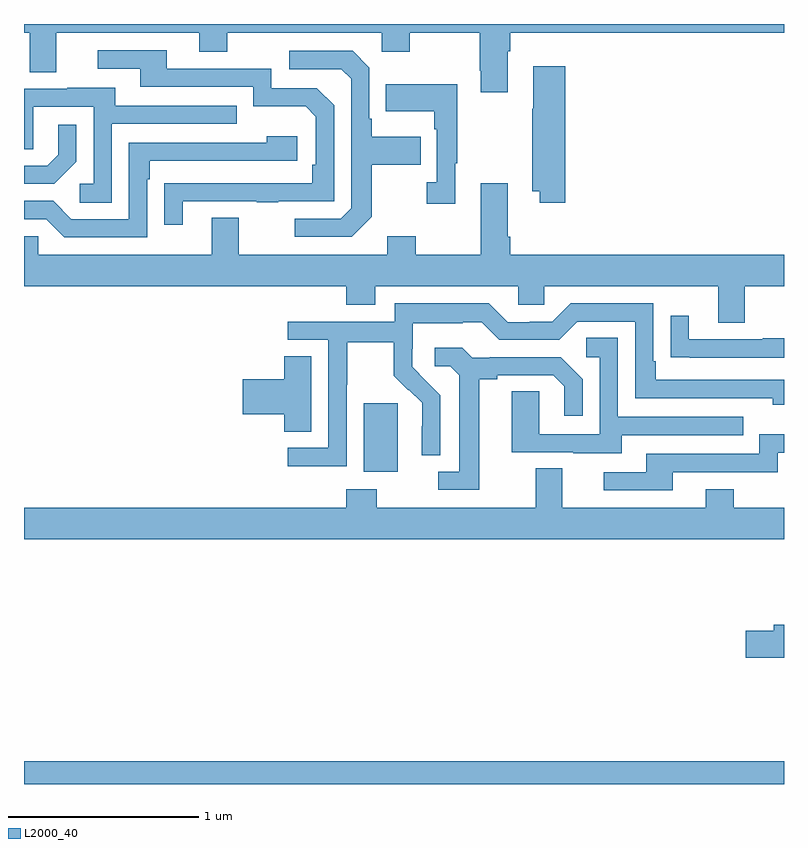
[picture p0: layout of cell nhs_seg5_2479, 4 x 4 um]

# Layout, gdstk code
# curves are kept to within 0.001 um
import gdstk
lib = gdstk.Library(unit=1e-6, precision=1e-09)
def R(c, l, rs):  # rectangles x0, y0, x1, y1
    for r in rs: c.add(gdstk.rectangle(r[:2], r[2:], *l))
def P(c, l, *ps):  # polygons
    for p in ps: c.add(gdstk.Polygon(p, *l))
L2000_40 = (2000, 40)

nhs_seg5_2479 = lib.new_cell('nhs_seg5_2479')
R(nhs_seg5_2479, L2000_40, [(255,860.799,259,860.92), (256.787,862.442,256.966,862.803)])
P(nhs_seg5_2479, L2000_40, [(257.545,864.656),(257.558,864.656),(257.558,864.752),(259,864.752),(259,864.799),(255,864.799),(255,864.752),(255.029,864.752),(255.029,864.544),(255.169,864.544),(255.169,864.752),(255.923,864.752),(255.923,864.653),(256.071,864.653),(256.071,864.752),(256.884,864.752),(256.884,864.653),(257.031,864.653),(257.031,864.752),(257.398,864.752),(257.398,864.553),(257.405,864.553),(257.405,864.441),(257.545,864.441)],
  [(255.835,863.865),(256.225,863.865),(256.225,863.86),(256.337,863.86),(256.337,863.865),(256.632,863.865),(256.632,864.372),(256.542,864.462),(256.302,864.462),(256.302,864.564),(255.751,864.564),(255.751,864.66),(255.387,864.66),(255.387,864.564),(255.611,864.564),(255.611,864.468),(256.206,864.468),(256.206,864.365),(256.483,864.365),(256.536,864.312),(256.536,864.058),(256.516,864.058),(256.516,863.961),(255.739,863.96),(255.739,863.742),(255.835,863.742)],
  [(256.831,863.785),(256.831,864.058),(257.087,864.058),(257.087,864.205),(256.831,864.205),(256.831,864.301),(256.818,864.301),(256.818,864.57),(256.731,864.657),(256.395,864.657),(256.395,864.561),(256.671,864.561),(256.722,864.51),(256.722,863.829),(256.668,863.775),(256.425,863.775),(256.425,863.679),(256.725,863.679)],
  [(257.849,864.577),(257.681,864.577),(257.681,864.353),(257.674,864.353),(257.674,863.918),(257.714,863.918),(257.714,863.859),(257.849,863.859)],
  [(257.269,864.065),(257.281,864.065),(257.281,864.481),(256.903,864.481),(256.903,864.341),(257.16,864.341),(257.16,864.245),(257.172,864.245),(257.172,863.966),(257.121,863.966),(257.121,863.853),(257.269,863.853)],
  [(255.462,864.273),(256.121,864.273),(256.121,864.369),(255.481,864.369),(255.481,864.463),(255.227,864.463),(255.227,864.459),(255,864.459),(255,864.139),(255.048,864.139),(255.048,864.363),(255.366,864.363),(255.366,863.958),(255.294,863.958),(255.294,863.857),(255.462,863.857)],
  [(255.276,864.074),(255.276,864.268),(255.179,864.268),(255.179,864.111),(255.122,864.054),(255,864.054),(255,863.958),(255.16,863.958)],
  [(255.648,863.981),(255.661,863.981),(255.661,864.078),(256.438,864.078),(256.438,864.208),(256.277,864.208),(256.277,864.174),(255.552,864.174),(255.552,863.772),(255.249,863.772),(255.153,863.868),(255,863.868),(255,863.772),(255.117,863.772),(255.213,863.676),(255.648,863.676)],
  [(258.793,863.42),(259,863.42),(259,863.584),(257.558,863.584),(257.558,863.68),(257.545,863.68),(257.545,863.962),(257.405,863.962),(257.405,863.584),(257.061,863.584),(257.061,863.683),(256.913,863.683),(256.913,863.584),(256.129,863.584),(256.129,863.779),(255.989,863.779),(255.989,863.584),(255.075,863.584),(255.075,863.682),(255,863.682),(255,863.42),(256.697,863.42),(256.697,863.321),(256.849,863.321),(256.849,863.42),(257.601,863.42),(257.601,863.322),(257.739,863.322),(257.739,863.42),(258.653,863.42),(258.653,863.226),(258.793,863.226)],
  [(256.698,862.9),(256.701,862.9),(256.701,863.124),(256.945,863.124),(256.945,862.949),(257.022,862.872),(257.025,862.875),(257.096,862.805),(257.096,862.682),(257.094,862.682),(257.094,862.528),(257.19,862.528),(257.19,862.846),(257.044,862.994),(257.044,863.091),(257.046,863.091),(257.046,863.225),(257.309,863.225),(257.309,863.229),(257.409,863.229),(257.502,863.136),(257.817,863.136),(257.913,863.232),(258.216,863.232),(258.216,862.83),(258.941,862.83),(258.941,862.796),(259,862.796),(259,862.926),(258.325,862.926),(258.325,863.023),(258.312,863.023),(258.312,863.328),(257.877,863.328),(257.781,863.232),(257.663,863.232),(257.663,863.229),(257.547,863.229),(257.447,863.329),(256.95,863.329),(256.95,863.232),(256.389,863.232),(256.389,863.136),(256.602,863.136),(256.602,862.569),(256.389,862.569),(256.389,862.471),(256.698,862.471)],
  [(259,863.144),(258.889,863.144),(258.889,863.139),(258.499,863.139),(258.499,863.263),(258.403,863.263),(258.403,863.044),(258.505,863.044),(258.505,863.043),(259,863.043)],
  [(258.145,862.635),(258.785,862.635),(258.785,862.731),(258.126,862.731),(258.126,863.147),(257.958,863.147),(257.958,863.046),(258.03,863.046),(258.03,862.641),(257.712,862.641),(257.712,862.865),(257.567,862.865),(257.567,862.545),(257.891,862.545),(257.891,862.541),(258.145,862.541)],
  [(257.395,862.928),(257.491,862.928),(257.491,862.95),(257.786,862.95),(257.843,862.893),(257.843,862.737),(257.94,862.737),(257.94,862.93),(257.824,863.046),(257.452,863.046),(257.452,863.043),(257.358,863.043),(257.306,863.095),(257.163,863.095),(257.163,862.998),(257.244,862.998),(257.291,862.951),(257.291,862.443),(257.181,862.443),(257.181,862.347),(257.395,862.347)],
  [(256.513,863.051),(256.37,863.051),(256.37,862.928),(256.152,862.928),(256.152,862.745),(256.37,862.745),(256.37,862.654),(256.513,862.654)],
  [(258.415,862.44),(258.966,862.44),(258.966,862.542),(259,862.542),(259,862.639),(258.87,862.639),(258.87,862.536),(258.275,862.536),(258.275,862.44),(258.051,862.44),(258.051,862.344),(258.415,862.344)],
  [(259,862.252),(258.735,862.252),(258.735,862.351),(258.587,862.351),(258.587,862.252),(257.833,862.252),(257.833,862.46),(257.693,862.46),(257.693,862.252),(256.857,862.252),(256.857,862.351),(256.697,862.351),(256.697,862.252),(255,862.252),(255,862.088),(259,862.088)],
  [(259,861.636),(258.947,861.636),(258.947,861.606),(258.798,861.606),(258.798,861.464),(259,861.464)])

lib.write_gds('nhs_seg5_2479.gds')
